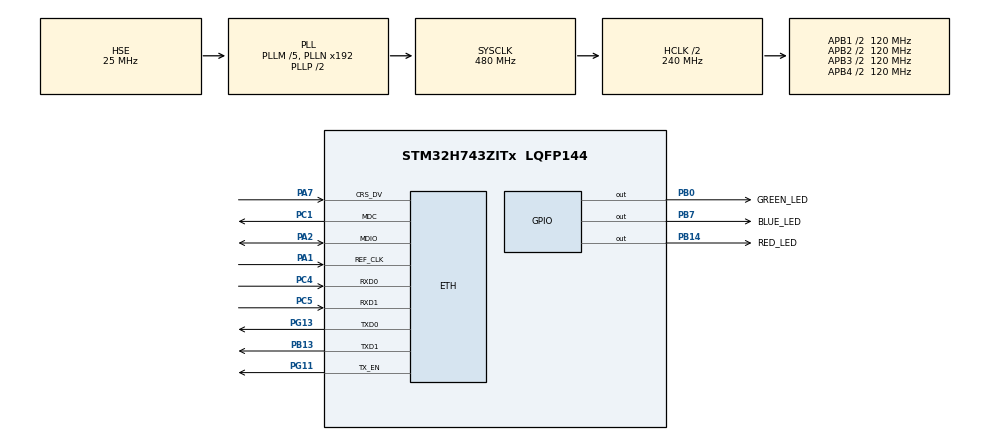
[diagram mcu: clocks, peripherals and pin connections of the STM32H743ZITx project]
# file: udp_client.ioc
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CORTEX_M7.AccessPermission-Cortex_Memory_Protection_Unit_Region0_Settings=MPU_REGION_FULL_ACCESS
CORTEX_M7.AccessPermission-Cortex_Memory_Protection_Unit_Region1_Settings=MPU_REGION_FULL_ACCESS
CORTEX_M7.BaseAddress-Cortex_Memory_Protection_Unit_Region0_Settings=0x30000000
CORTEX_M7.BaseAddress-Cortex_Memory_Protection_Unit_Region1_Settings=0x30004000
CORTEX_M7.CPU_DCache=Enabled
CORTEX_M7.CPU_ICache=Enabled
CORTEX_M7.Enable-Cortex_Memory_Protection_Unit_Region0_Settings=MPU_REGION_ENABLE
CORTEX_M7.Enable-Cortex_Memory_Protection_Unit_Region1_Settings=MPU_REGION_ENABLE
CORTEX_M7.IsBufferable-Cortex_Memory_Protection_Unit_Region0_Settings=MPU_ACCESS_BUFFERABLE
CORTEX_M7.IsShareable-Cortex_Memory_Protection_Unit_Region1_Settings=MPU_ACCESS_SHAREABLE
CORTEX_M7.MPU_Control=MPU_PRIVILEGED_DEFAULT
CORTEX_M7.Size-Cortex_Memory_Protection_Unit_Region0_Settings=MPU_REGION_SIZE_1KB
CORTEX_M7.Size-Cortex_Memory_Protection_Unit_Region1_Settings=MPU_REGION_SIZE_16KB
CORTEX_M7.TypeExtField-Cortex_Memory_Protection_Unit_Region1_Settings=MPU_TEX_LEVEL1
ETH.MediaInterface=HAL_ETH_RMII_MODE
LWIP.BSP.number=1
LWIP.GATEWAY_ADDRESS=192.168.000.001
LWIP.IP_ADDRESS=192.168.000.123
LWIP.LWIP_DHCP=0
LWIP.LWIP_RAM_HEAP_POINTER=0x30004000
LWIP.MEM_SIZE=14*1024
LWIP.NETMASK_ADDRESS=255.255.255.000
LWIP.Version=v2.1.2_Cube
LWIP0.BSP.STBoard=false
LWIP0.BSP.api=BSP_COMPONENT_DRIVER
LWIP0.BSP.component=LAN8742
LWIP0.BSP.instance=LAN8742
LWIP0.BSP.name=Driver_PHY
LWIP0.BSP.semaphore=S_LAN8742
LWIP0.BSP.solution=LAN8742
Mcu.Family=STM32H7
Mcu.Name=STM32H743ZITx
Mcu.Package=LQFP144
NVIC.ETH_IRQn=true\:0\:0\:false\:false\:true\:true\:true\:true
NVIC.PriorityGroup=NVIC_PRIORITYGROUP_4
NVIC.TIM2_IRQn=true\:0\:0\:false\:false\:true\:true\:true\:true
PA1.Mode=RMII
PA1.Signal=ETH_REF_CLK
PA2.Mode=RMII
PA2.Signal=ETH_MDIO
PA7.Mode=RMII
PA7.Signal=ETH_CRS_DV
PB0.GPIO_Label=GREEN_LED
PB0.Signal=GPIO_Output
PB13.Mode=RMII
PB13.Signal=ETH_TXD1
PB14.GPIO_Label=RED_LED
PB14.Signal=GPIO_Output
PB7.GPIO_Label=BLUE_LED
PB7.Signal=GPIO_Output
PC1.Mode=RMII
PC1.Signal=ETH_MDC
PC4.Mode=RMII
PC4.Signal=ETH_RXD0
PC5.Mode=RMII
PC5.Signal=ETH_RXD1
PG11.Mode=RMII
PG11.Signal=ETH_TX_EN
PG13.Mode=RMII
PG13.Signal=ETH_TXD0
PH0-OSC_IN\ (PH0).Mode=HSE-External-Oscillator
PH0-OSC_IN\ (PH0).Signal=RCC_OSC_IN
PH1-OSC_OUT\ (PH1).Mode=HSE-External-Oscillator
PH1-OSC_OUT\ (PH1).Signal=RCC_OSC_OUT
ProjectManager.HeapSize=0x2000
ProjectManager.StackSize=0x4000
ProjectManager.TargetToolchain=STM32CubeIDE
RCC.ADCFreq_Value=50390625
RCC.APB1Freq_Value=120000000
RCC.APB2Freq_Value=120000000
RCC.APB3Freq_Value=120000000
RCC.APB4Freq_Value=120000000
RCC.CortexFreq_Value=480000000
RCC.D1PPRE=RCC_APB3_DIV2
RCC.D2PPRE1=RCC_APB1_DIV2
RCC.D2PPRE2=RCC_APB2_DIV2
RCC.D3PPRE=RCC_APB4_DIV2
RCC.DIVM1=5
RCC.DIVN1=192
RCC.HCLKFreq_Value=240000000
RCC.HPRE=RCC_HCLK_DIV2
RCC.PLLSourceVirtual=RCC_PLLSOURCE_HSE
RCC.SYSCLKFreq_VALUE=480000000
RCC.SYSCLKSource=RCC_SYSCLKSOURCE_PLLCLK
RCC.USBFreq_Value=480000000
TIM2.Period=99999
TIM2.Prescaler=239
VP_LWIP_VS_Enabled.Mode=Enabled
VP_TIM2_VS_ClockSourceINT.Mode=Internal
board=custom

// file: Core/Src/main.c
/* USER CODE BEGIN Header */
/**
  ******************************************************************************
  * @file           : main.c
  * @brief          : Main program body
  ******************************************************************************
  * @attention
  *
  * Copyright (c) 2024 STMicroelectronics.
  * All rights reserved.
  *
  * This software is licensed under terms that can be found in the LICENSE file
  * in the root directory of this software component.
  * If no LICENSE file comes with this software, it is provided AS-IS.
  *
  ******************************************************************************
  */
/* USER CODE END Header */
#include "main.h"
#include "lwip.h"
#include "tim.h"
#include "gpio.h"

/* USER CODE BEGIN Includes */
#include  "udp_client_raw.h"
/* USER CODE END Includes */

/* USER CODE BEGIN PV */
static  int32_t  tim2_period_elapsed = 0;
/* USER CODE END PV */

void SystemClock_Config(void);
static void MPU_Config(void);
/* USER CODE BEGIN PFP */
static  void  period_elapsed( void );
/* USER CODE END PFP */

/* USER CODE BEGIN 0 */
extern  struct  netif  gnetif;

/* USER CODE END 0 */

int main(void)
{

  /* MPU Configuration--------------------------------------------------------*/
  MPU_Config();

  /* Enable the CPU Cache */

  /* Enable I-Cache---------------------------------------------------------*/
  SCB_EnableICache();

  /* Enable D-Cache---------------------------------------------------------*/
  SCB_EnableDCache();

  /* MCU Configuration--------------------------------------------------------*/

  /* Reset of all peripherals, Initializes the Flash interface and the Systick. */
  HAL_Init();

  /* Configure the system clock */
  SystemClock_Config();

  /* Initialize all configured peripherals */
  MX_GPIO_Init();
  MX_TIM2_Init();
  MX_LWIP_Init();
  /* USER CODE BEGIN 2 */
  udp_client_connect();
  HAL_TIM_Base_Start_IT( &htim2 );
  /* USER CODE END 2 */

  /* Infinite loop */
  while (1)
  {

    /* USER CODE BEGIN 3 */
    MX_LWIP_Process();
    period_elapsed();
  }
  /* USER CODE END 3 */
}

void SystemClock_Config(void)
{
  RCC_OscInitTypeDef RCC_OscInitStruct = {0};
  RCC_ClkInitTypeDef RCC_ClkInitStruct = {0};

  /** Supply configuration update enable
  */
  HAL_PWREx_ConfigSupply(PWR_LDO_SUPPLY);

  /** Configure the main internal regulator output voltage
  */
  __HAL_PWR_VOLTAGESCALING_CONFIG(PWR_REGULATOR_VOLTAGE_SCALE1);

  while(!__HAL_PWR_GET_FLAG(PWR_FLAG_VOSRDY)) {}

  __HAL_RCC_SYSCFG_CLK_ENABLE();
  __HAL_PWR_VOLTAGESCALING_CONFIG(PWR_REGULATOR_VOLTAGE_SCALE0);

  while(!__HAL_PWR_GET_FLAG(PWR_FLAG_VOSRDY)) {}

  /** Initializes the RCC Oscillators according to the specified parameters
  * in the RCC_OscInitTypeDef structure.
  */
  RCC_OscInitStruct.OscillatorType = RCC_OSCILLATORTYPE_HSE;
  RCC_OscInitStruct.HSEState = RCC_HSE_ON;
  RCC_OscInitStruct.PLL.PLLState = RCC_PLL_ON;
  RCC_OscInitStruct.PLL.PLLSource = RCC_PLLSOURCE_HSE;
  RCC_OscInitStruct.PLL.PLLM = 5;
  RCC_OscInitStruct.PLL.PLLN = 192;
  RCC_OscInitStruct.PLL.PLLP = 2;
  RCC_OscInitStruct.PLL.PLLQ = 2;
  RCC_OscInitStruct.PLL.PLLR = 2;
  RCC_OscInitStruct.PLL.PLLRGE = RCC_PLL1VCIRANGE_2;
  RCC_OscInitStruct.PLL.PLLVCOSEL = RCC_PLL1VCOWIDE;
  RCC_OscInitStruct.PLL.PLLFRACN = 0;
  if (HAL_RCC_OscConfig(&RCC_OscInitStruct) != HAL_OK)
  {
    Error_Handler();
  }

  /** Initializes the CPU, AHB and APB buses clocks
  */
  RCC_ClkInitStruct.ClockType = RCC_CLOCKTYPE_HCLK|RCC_CLOCKTYPE_SYSCLK
                              |RCC_CLOCKTYPE_PCLK1|RCC_CLOCKTYPE_PCLK2
                              |RCC_CLOCKTYPE_D3PCLK1|RCC_CLOCKTYPE_D1PCLK1;
  RCC_ClkInitStruct.SYSCLKSource = RCC_SYSCLKSOURCE_PLLCLK;
  RCC_ClkInitStruct.SYSCLKDivider = RCC_SYSCLK_DIV1;
  RCC_ClkInitStruct.AHBCLKDivider = RCC_HCLK_DIV2;
  RCC_ClkInitStruct.APB3CLKDivider = RCC_APB3_DIV2;
  RCC_ClkInitStruct.APB1CLKDivider = RCC_APB1_DIV2;
  RCC_ClkInitStruct.APB2CLKDivider = RCC_APB2_DIV2;
  RCC_ClkInitStruct.APB4CLKDivider = RCC_APB4_DIV2;

  if (HAL_RCC_ClockConfig(&RCC_ClkInitStruct, FLASH_LATENCY_4) != HAL_OK)
  {
    Error_Handler();
  }
}

/* USER CODE BEGIN 4 */
/**
 *   \brief   Функция обратного вызова таймера
 *   \param  *htim
 *   \return  Нет
 */
void  HAL_TIM_PeriodElapsedCallback( TIM_HandleTypeDef  * htim )
{
	if ( htim->Instance == TIM2 )
	{
		tim2_period_elapsed = 1;
	}
}

/**
 *   \brief   Обработчик по флагу таймера
 *   \param   Нет
 *   \return  Нет
 */
static  void  period_elapsed( void )
{
	err_t  err = ERR_OK;

	if ( tim2_period_elapsed )
	{
		tim2_period_elapsed = 0;

		err = udp_client_send();

        if ( ERR_OK == err )
        {
            HAL_GPIO_TogglePin( GPIOB, BLUE_LED_Pin );

            if ( HAL_GPIO_ReadPin( GPIOB, RED_LED_Pin ) == GPIO_PIN_SET )
            {
                HAL_GPIO_WritePin( GPIOB, RED_LED_Pin, GPIO_PIN_RESET );
            }
        }
        else
        {
    	    HAL_GPIO_TogglePin( GPIOB, RED_LED_Pin );

            if ( HAL_GPIO_ReadPin( GPIOB, BLUE_LED_Pin ) == GPIO_PIN_SET )
            {
    	        HAL_GPIO_WritePin( GPIOB, BLUE_LED_Pin, GPIO_PIN_RESET );
    	    }
        }
    }
}
/* USER CODE END 4 */

 /* MPU Configuration */

void MPU_Config(void)
{
  MPU_Region_InitTypeDef MPU_InitStruct = {0};

  /* Disables the MPU */
  HAL_MPU_Disable();

  /** Initializes and configures the Region and the memory to be protected
  */
  MPU_InitStruct.Enable = MPU_REGION_ENABLE;
  MPU_InitStruct.Number = MPU_REGION_NUMBER0;
  MPU_InitStruct.BaseAddress = 0x30000000;
  MPU_InitStruct.Size = MPU_REGION_SIZE_1KB;
  MPU_InitStruct.SubRegionDisable = 0x0;
  MPU_InitStruct.TypeExtField = MPU_TEX_LEVEL0;
  MPU_InitStruct.AccessPermission = MPU_REGION_FULL_ACCESS;
  MPU_InitStruct.DisableExec = MPU_INSTRUCTION_ACCESS_ENABLE;
  MPU_InitStruct.IsShareable = MPU_ACCESS_NOT_SHAREABLE;
  MPU_InitStruct.IsCacheable = MPU_ACCESS_NOT_CACHEABLE;
  MPU_InitStruct.IsBufferable = MPU_ACCESS_BUFFERABLE;

  HAL_MPU_ConfigRegion(&MPU_InitStruct);

  /** Initializes and configures the Region and the memory to be protected
  */
  MPU_InitStruct.Number = MPU_REGION_NUMBER1;
  MPU_InitStruct.BaseAddress = 0x30004000;
  MPU_InitStruct.Size = MPU_REGION_SIZE_16KB;
  MPU_InitStruct.TypeExtField = MPU_TEX_LEVEL1;
  MPU_InitStruct.IsShareable = MPU_ACCESS_SHAREABLE;
  MPU_InitStruct.IsBufferable = MPU_ACCESS_NOT_BUFFERABLE;

  HAL_MPU_ConfigRegion(&MPU_InitStruct);
  /* Enables the MPU */
  HAL_MPU_Enable(MPU_PRIVILEGED_DEFAULT);

}

void Error_Handler(void)
{
  __disable_irq();
  while (1)
  {
  }
}
